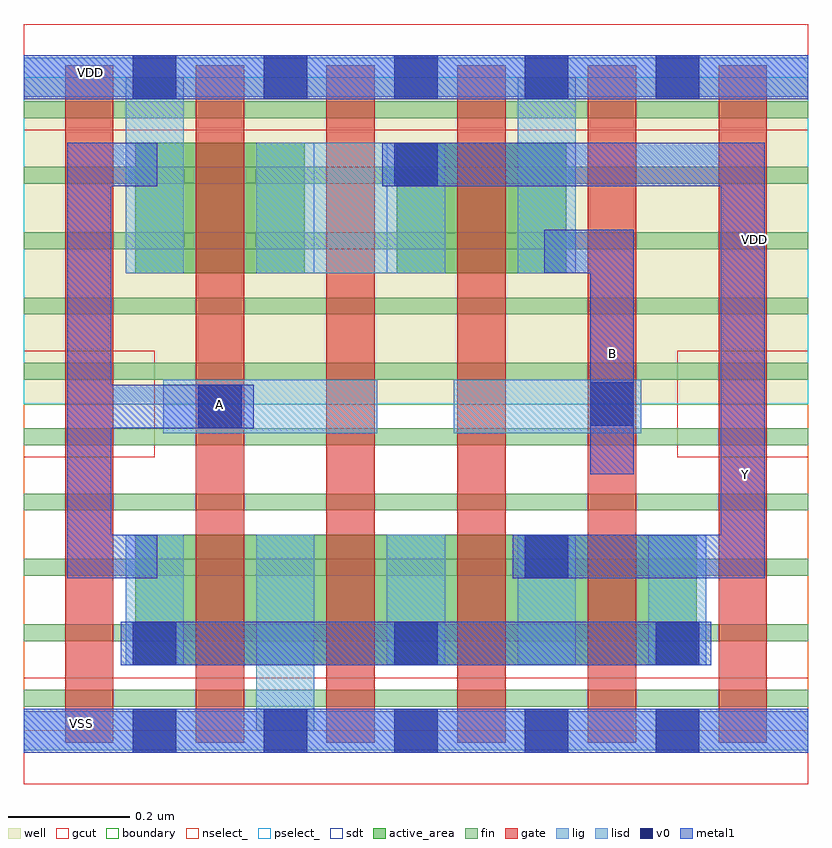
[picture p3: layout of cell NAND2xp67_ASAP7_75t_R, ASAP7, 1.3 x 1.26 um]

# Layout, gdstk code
import gdstk
lib = gdstk.Library(unit=1e-6, precision=2.5e-10)
def R(c, l, rs):  # rectangles x0, y0, x1, y1
    for r in rs: c.add(gdstk.rectangle(r[:2], r[2:], *l))
def A(c, l, x, y, w, h, nx, ny, dx, dy):  # array of equal rectangles
    R(c, l, [(x+i*dx, y+j*dy, x+i*dx+w, y+j*dy+h) for i in range(nx) for j in range(ny)])
def P(c, l, *ps):  # polygons
    for p in ps: c.add(gdstk.Polygon(p, *l))
well = (1, 0)
fin = (2, 0)
gate = (7, 0)
gcut = (10, 0)
active_area = (11, 0)
nselect_ = (12, 0)
pselect_ = (13, 0)
lig = (16, 0)
lisd = (17, 0)
v0 = (18, 0)
metal1 = (19, 0)
sdt = (88, 0)
boundary = (100, 0)

nand2xp67_asap7_75t_r = lib.new_cell('NAND2xp67_ASAP7_75t_R')
R(nand2xp67_asap7_75t_r, well, [(0,0.54,1.296,1.08)])
A(nand2xp67_asap7_75t_r, fin, 0, 0.04, 1.296, 0.028, 1, 10, 0, 0.108)
A(nand2xp67_asap7_75t_r, gate, 0.068, -0.02, 0.08, 1.12, 6, 1, 0.216, 0)
R(nand2xp67_asap7_75t_r, gcut, [(0,-0.088,1.296,0.088), (0,0.452,0.216,0.628), (1.08,0.452,1.296,0.628), (0,0.992,1.296,1.168)])
R(nand2xp67_asap7_75t_r, active_area, [(0.184,0.108,1.112,0.324), (0.184,0.756,0.464,0.972), (0.616,0.756,0.896,0.972)])
R(nand2xp67_asap7_75t_r, nselect_, [(0,0,1.296,0.54)])
R(nand2xp67_asap7_75t_r, pselect_, [(0,0.54,1.296,1.08)])
R(nand2xp67_asap7_75t_r, lig, [(0,-0.032,1.296,0.032), (0.23,0.492,0.584,0.58), (0.71,0.492,1.02,0.58), (0,1.048,1.296,1.112)])
A(nand2xp67_asap7_75t_r, lisd, 0.6, 0.108, 0.096, 0.216, 3, 1, 0.216, 0)
R(nand2xp67_asap7_75t_r, lisd, [(0.384,0,0.48,0.324), (0.168,0.108,0.264,0.324), (0.168,0.756,0.264,1.08), (0.384,0.756,0.696,0.972), (0.816,0.756,0.912,1.08)])
A(nand2xp67_asap7_75t_r, v0, 0.18, -0.036, 0.072, 0.072, 5, 2, 0.216, 1.08)
A(nand2xp67_asap7_75t_r, v0, 0.18, 0.108, 0.072, 0.072, 3, 1, 0.432, 0)
R(nand2xp67_asap7_75t_r, v0, [(0.828,0.252,0.9,0.324), (0.288,0.5,0.36,0.572), (0.936,0.504,1.008,0.576), (0.612,0.9,0.684,0.972)])
R(nand2xp67_asap7_75t_r, metal1, [(0,-0.036,1.296,0.036), (0.16,0.108,1.136,0.18), (0,1.044,1.296,1.116)])
P(nand2xp67_asap7_75t_r, metal1, [(0.38,0.572),(0.144,0.572),(0.144,0.9),(0.22,0.9),(0.22,0.972),(0.072,0.972),(0.072,0.252),(0.22,0.252),(0.22,0.324),(0.144,0.324),(0.144,0.5),(0.38,0.5)],
  [(1.008,0.828),(0.86,0.828),(0.86,0.756),(0.936,0.756),(0.936,0.424),(1.008,0.424)],
  [(1.224,0.972),(0.592,0.972),(0.592,0.9),(1.152,0.9),(1.152,0.324),(0.808,0.324),(0.808,0.252),(1.224,0.252)])
A(nand2xp67_asap7_75t_r, sdt, 0.168, 0.108, 0.096, 0.216, 5, 1, 0.216, 0)
A(nand2xp67_asap7_75t_r, sdt, 0.168, 0.756, 0.096, 0.216, 4, 1, 0.216, 0)
R(nand2xp67_asap7_75t_r, boundary, [(0,0,1.296,1.08)])
nand2xp67_asap7_75t_r.add(gdstk.Label('Y', (1.192,0.424), layer=19, texttype=251))
nand2xp67_asap7_75t_r.add(gdstk.Label('B', (0.972,0.624), layer=19, texttype=251))
nand2xp67_asap7_75t_r.add(gdstk.Label('A', (0.324,0.54), layer=19, texttype=251))
nand2xp67_asap7_75t_r.add(gdstk.Label('VDD', (0.11,1.088), layer=19, texttype=251))
nand2xp67_asap7_75t_r.add(gdstk.Label('VSS', (0.096,0.012), layer=19, texttype=251))
nand2xp67_asap7_75t_r.add(gdstk.Label('VDD', (1.208,0.812), layer=1, texttype=251))
nand2xp67_asap7_75t_r.add(gdstk.Label('VSS', (1.484,0.808), layer=3, texttype=251))

lib.write_gds('NAND2xp67_ASAP7_75t_R.gds')
